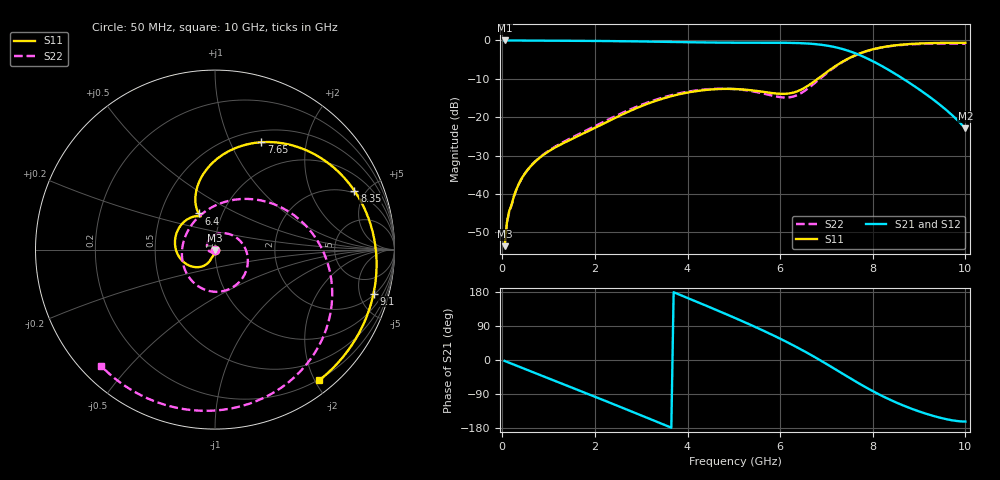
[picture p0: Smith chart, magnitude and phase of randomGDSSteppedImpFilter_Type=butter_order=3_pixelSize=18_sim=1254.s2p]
! freq	dB(S11)	phase(S11)	dB(S12)	phase(S12)
!  dB(S21)	phase(S21)	dB(S22)	phase(S22)
!S-par simulation data
#  GHz  S  DB  R 50
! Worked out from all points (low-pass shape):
!   200 points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, 50 MHz to 10 GHz, reference 50 ohm
!   highest |S21| = -0.01 dB at 50 MHz (marker M1); lowest = -22.9 dB at 10 GHz (marker M2)
!   |S21| within 3 dB of the highest: start of sweep to 7.546 GHz
!   lowest |S11| = -53.6 dB at 50 MHz (marker M3), VSWR 1.00, Z = 50 - j0.21 ohm
!   |S11| at or under -10 dB: start of sweep to 6.812 GHz
!   |S22| runs from -53.6 to -0.8 dB; largest |S21 - S12| = 0
!   S11 on the Smith chart (normalised r, x): 50 MHz: 1.00, -0.00; 6.4 GHz: 0.77, +0.33; 7.65 GHz: 0.63, +1.32; 8.35 GHz: 1.83, +4.16; 9.1 GHz: 2.16, -6.64; 10 GHz: 0.19, -2.07
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0.05  -53.57 -88.5  -0.01 -2.5  -0.01 -2.5  -53.57 -91.0
0.1  -47.43 -88.5  -0.01 -4.9  -0.01 -4.9  -47.48 -93.5
0.15  -44.42 -83.7  -0.02 -7.3  -0.02 -7.3  -44.60 -92.4
0.3  -38.89 -96.0  -0.03 -14.5  -0.03 -14.5  -38.98 -113.9
0.5  -34.44 -100.2  -0.04 -24.1  -0.04 -24.1  -34.46 -130.1
1.15  -27.81 -109.5  -0.07 -55.5  -0.07 -55.5  -27.59 175.0
1.75  -24.24 -113.5  -0.11 -84.7  -0.11 -84.7  -23.81 121.2
2.5  -19.80 -122.5  -0.19 -121.4  -0.19 -121.4  -19.39 58.3
2.95  -17.37 -133.8  -0.26 -143.7  -0.26 -143.7  -17.02 25.6
3.4  -15.39 -148.9  -0.34 -166.1  -0.34 -166.1  -15.10 -3.8
4.2  -13.17 178.5  -0.50 153.6  -0.50 153.6  -12.99 -51.1
5.05  -12.66 141.0  -0.59 109.6  -0.59 109.6  -12.70 -100.9
5.75  -13.58 116.9  -0.60 70.9  -0.60 70.9  -14.15 -154.4
6.4  -13.10 114.3  -0.69 31.2  -0.69 31.2  -14.06 122.1
6.7  -10.98 112.6  -0.89 11.0  -0.89 11.0  -11.55 81.2
7.15  -7.04 96.6  -1.65 -21.4  -1.65 -21.4  -7.19 32.7
7.65  -3.72 66.7  -3.48 -58.1  -3.48 -58.1  -3.75 -10.3
7.95  -2.47 47.3  -5.10 -78.8  -5.10 -78.8  -2.51 -32.4
8.35  -1.48 23.0  -7.73 -103.5  -7.73 -103.5  -1.54 -58.1
8.7  -1.02 3.8  -10.33 -122.1  -10.33 -122.1  -1.12 -77.4
9.1  -0.76 -15.5  -13.58 -139.8  -13.58 -139.8  -0.89 -96.7
10  -0.62 -51.3  -22.93 -162.4  -22.93 -162.4  -0.85 -134.5
